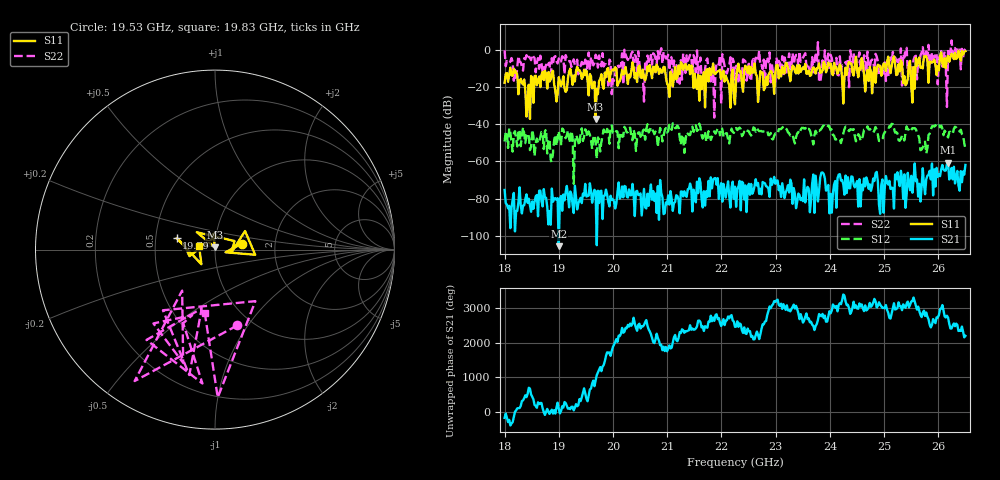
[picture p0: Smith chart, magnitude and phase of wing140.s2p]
!Keysight Technologies,N5242B,MY47200105,A.14.00.23
!Date: Friday, May 10, 2024 11:04:43
!Correction: S11(C  2-Port  )
!S21(C  2-Port  )
!S12(C  2-Port  )
!S22(C  2-Port  )
!S2P File: Measurement: :
# Hz S  RI  R 50
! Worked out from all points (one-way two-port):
!   401 points, 18 GHz to 26.5 GHz, reference 50 ohm
!   highest |S21| = -60.71 dB at 26.18 GHz (marker M1); lowest = -105.6 dB at 19 GHz (marker M2)
!   lowest |S11| = -37.1 dB at 19.68 GHz (marker M3), VSWR 1.03, Z = 49.8 + j1.38 ohm
!   |S11| at or under -10 dB: 18.11 GHz to 19.33 GHz (1.221 GHz wide, 6.52 % of centre); 19.35 GHz to 19.9 GHz (550.3 MHz wide, 2.8 % of centre); 21.86 GHz to 22.3 GHz (439.8 MHz wide, 1.99 % of centre) (the widest 3 of 59)
!   |S22| runs from -36.4 to 5.2 dB; largest |S21 - S12| = 0.011
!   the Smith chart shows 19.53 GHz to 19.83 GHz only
!   S11 on the Smith chart (normalised r, x): 19.53 GHz: 1.35, +0.09; 19.79 GHz: 0.64, +0.09; 19.83 GHz: 0.84, +0.03
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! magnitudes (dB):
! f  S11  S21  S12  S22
! 18 GHz  -17.6  -75.4  -49.3  -0.1
! 18.43 GHz  -28.1  -82.3  -44.8  -4.9
! 18.72 GHz  -16.2  -74.9  -53.3  -9.3
! 19 GHz  -14.6  -105.6  -43.6  -4.6
! 19.42 GHz  -15.6  -82.4  -42.2  -6.4
! 19.53 GHz  -16.3  -78.7  -46.8  -7.1
! 19.68 GHz  -37.1  -76.2  -50.4  -2.5
! 19.79 GHz  -13.0  -75.8  -49.6  -8.8
! 19.83 GHz  -20.8  -78.6  -42.8  -8.9
! 20.02 GHz  -11.1  -81.6  -45.2  -16.5
! 20.38 GHz  -9.3  -77.7  -43.0  -6.6
! 20.55 GHz  -10.5  -81.6  -43.3  -13.7
! 20.85 GHz  -12.8  -91.4  -46.4  -4.6
! 21.23 GHz  -12.9  -87.9  -47.2  -18.1
! 21.4 GHz  -8.1  -74.8  -45.7  -4.4
! 21.85 GHz  -7.2  -69.7  -45.2  -8.8
! 22.25 GHz  -29.2  -73.6  -42.4  -16.3
! 23.67 GHz  -10.6  -71.8  -47.9  -3.8
! 25.1 GHz  -8.7  -70.5  -41.1  -5.9
! 25.52 GHz  -28.3  -76.9  -42.1  -10.0
! 26.18 GHz  -3.1  -60.7  -47.1  0.5
! 26.5 GHz  -0.6  -61.9  -53.7  0.6
